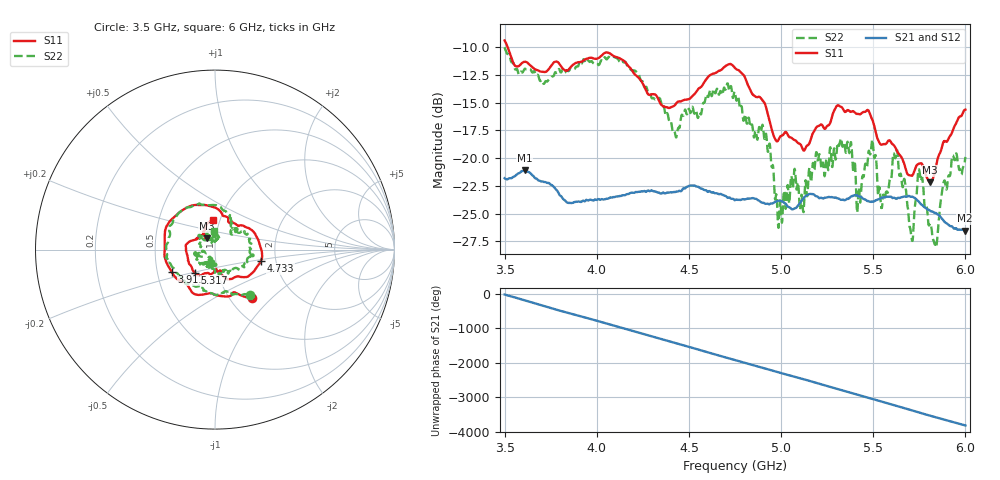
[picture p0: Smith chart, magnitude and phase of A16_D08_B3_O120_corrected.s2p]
! Created with skrf 1.9.0 (http://scikit-rf.org).
# Hz S RI R 50.0
!freq ReS11 ImS11 ReS21 ImS21 ReS12 ImS12 ReS22 ImS22
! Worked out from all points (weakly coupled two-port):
!   1601 points, 3.5 GHz to 6 GHz, reference 50 ohm
!   highest |S21| = -21.10 dB at 3.609 GHz (marker M1); lowest = -26.5 dB at 5.995 GHz (marker M2)
!   lowest |S11| = -22.2 dB at 5.809 GHz (marker M3), VSWR 1.17, Z = 45.2 + j5.7 ohm
!   |S11| at or under -10 dB: 3.517 GHz to end of sweep
!   |S22| runs from -27.9 to -10.0 dB; largest |S21 - S12| = 0.0011
!   S11 on the Smith chart (normalised r, x): 3.5 GHz: 1.26, -0.77; 3.911 GHz: 0.60, -0.16; 4.733 GHz: 1.67, -0.23; 5.317 GHz: 0.77, -0.21; 6 GHz: 0.93, +0.31
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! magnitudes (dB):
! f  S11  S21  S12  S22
! 3.5 GHz  -9.4  -21.8  -21.8  -10.0
! 3.609 GHz  -11.3  -21.1  -21.1  -11.9
! 3.911 GHz  -11.3  -23.9  -23.9  -11.3
! 3.917 GHz  -11.3  -23.9  -23.9  -11.5
! 4.334 GHz  -14.7  -23.1  -23.1  -14.6
! 4.425 GHz  -15.2  -23.1  -23.0  -17.8
! 4.733 GHz  -11.6  -23.7  -23.7  -13.9
! 4.75 GHz  -11.9  -23.8  -23.7  -14.1
! 4.909 GHz  -15.0  -24.1  -24.0  -18.3
! 4.994 GHz  -18.1  -23.9  -23.8  -24.0
! 5.167 GHz  -18.0  -23.2  -23.2  -21.3
! 5.317 GHz  -15.3  -23.7  -23.7  -18.7
! 5.42 GHz  -16.0  -23.4  -23.5  -22.8
! 5.487 GHz  -16.2  -23.9  -23.9  -19.3
! 5.537 GHz  -18.7  -23.7  -23.6  -23.2
! 5.584 GHz  -18.4  -23.5  -23.5  -22.5
! 5.622 GHz  -19.1  -23.7  -23.7  -19.9
! 5.708 GHz  -21.6  -23.5  -23.4  -27.2
! 5.755 GHz  -20.5  -24.1  -24.0  -21.7
! 5.809 GHz  -22.2  -24.7  -24.7  -26.1
! 5.995 GHz  -15.7  -26.5  -26.4  -20.4
! 6 GHz  -15.6  -26.5  -26.5  -19.9
